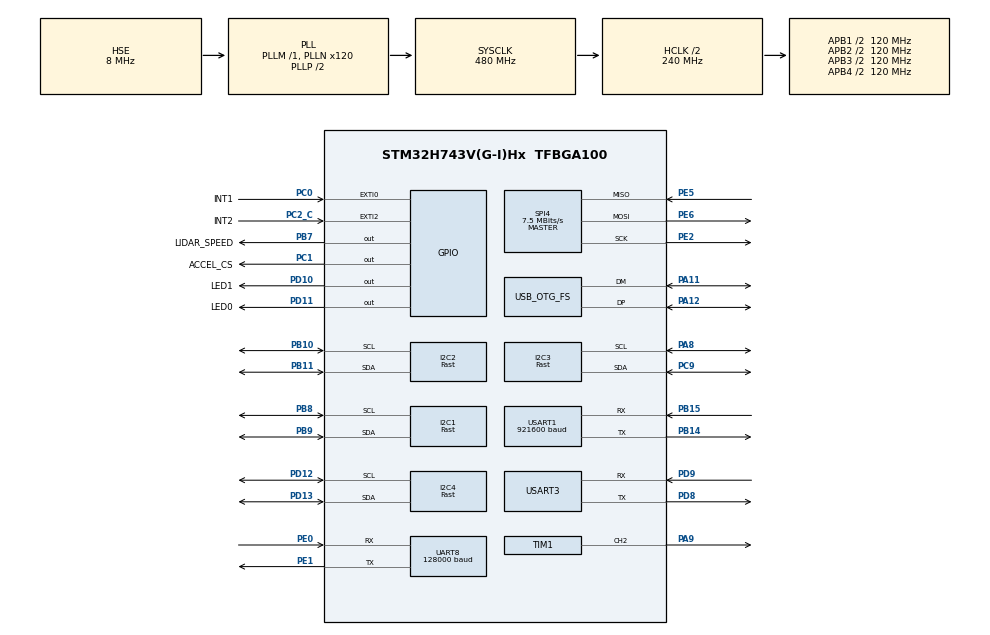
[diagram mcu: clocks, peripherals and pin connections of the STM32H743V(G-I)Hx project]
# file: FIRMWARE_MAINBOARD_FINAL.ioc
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CORTEX_M7.default_mode_Activation=1
Dma.Request0=USART1_RX
Dma.Request1=TIM1_CH2
Dma.Request2=UART8_RX
Dma.TIM1_CH2.1.Direction=DMA_MEMORY_TO_PERIPH
Dma.TIM1_CH2.1.EventEnable=DISABLE
Dma.TIM1_CH2.1.FIFOMode=DMA_FIFOMODE_DISABLE
Dma.TIM1_CH2.1.Instance=DMA1_Stream0
Dma.TIM1_CH2.1.MemDataAlignment=DMA_MDATAALIGN_WORD
Dma.TIM1_CH2.1.MemInc=DMA_MINC_ENABLE
Dma.TIM1_CH2.1.Mode=DMA_NORMAL
Dma.TIM1_CH2.1.PeriphDataAlignment=DMA_PDATAALIGN_WORD
Dma.TIM1_CH2.1.PeriphInc=DMA_PINC_DISABLE
Dma.TIM1_CH2.1.Polarity=HAL_DMAMUX_REQ_GEN_RISING
Dma.TIM1_CH2.1.Priority=DMA_PRIORITY_LOW
Dma.TIM1_CH2.1.RequestNumber=1
Dma.TIM1_CH2.1.SignalID=NONE
Dma.TIM1_CH2.1.SyncEnable=DISABLE
Dma.TIM1_CH2.1.SyncPolarity=HAL_DMAMUX_SYNC_NO_EVENT
Dma.TIM1_CH2.1.SyncRequestNumber=1
Dma.TIM1_CH2.1.SyncSignalID=NONE
Dma.UART8_RX.2.Direction=DMA_PERIPH_TO_MEMORY
Dma.UART8_RX.2.EventEnable=DISABLE
Dma.UART8_RX.2.FIFOMode=DMA_FIFOMODE_DISABLE
Dma.UART8_RX.2.Instance=DMA1_Stream2
Dma.UART8_RX.2.MemDataAlignment=DMA_MDATAALIGN_BYTE
Dma.UART8_RX.2.MemInc=DMA_MINC_ENABLE
Dma.UART8_RX.2.Mode=DMA_CIRCULAR
Dma.UART8_RX.2.PeriphDataAlignment=DMA_PDATAALIGN_BYTE
Dma.UART8_RX.2.PeriphInc=DMA_PINC_DISABLE
Dma.UART8_RX.2.Polarity=HAL_DMAMUX_REQ_GEN_RISING
Dma.UART8_RX.2.Priority=DMA_PRIORITY_LOW
Dma.UART8_RX.2.RequestNumber=1
Dma.UART8_RX.2.SignalID=NONE
Dma.UART8_RX.2.SyncEnable=DISABLE
Dma.UART8_RX.2.SyncPolarity=HAL_DMAMUX_SYNC_NO_EVENT
Dma.UART8_RX.2.SyncRequestNumber=1
Dma.UART8_RX.2.SyncSignalID=NONE
Dma.USART1_RX.0.Direction=DMA_PERIPH_TO_MEMORY
Dma.USART1_RX.0.EventEnable=DISABLE
Dma.USART1_RX.0.FIFOMode=DMA_FIFOMODE_DISABLE
Dma.USART1_RX.0.Instance=DMA1_Stream1
Dma.USART1_RX.0.MemDataAlignment=DMA_MDATAALIGN_BYTE
Dma.USART1_RX.0.MemInc=DMA_MINC_ENABLE
Dma.USART1_RX.0.Mode=DMA_CIRCULAR
Dma.USART1_RX.0.PeriphDataAlignment=DMA_PDATAALIGN_BYTE
Dma.USART1_RX.0.PeriphInc=DMA_PINC_DISABLE
Dma.USART1_RX.0.Polarity=HAL_DMAMUX_REQ_GEN_RISING
Dma.USART1_RX.0.Priority=DMA_PRIORITY_LOW
Dma.USART1_RX.0.RequestNumber=1
Dma.USART1_RX.0.SignalID=NONE
Dma.USART1_RX.0.SyncEnable=DISABLE
Dma.USART1_RX.0.SyncPolarity=HAL_DMAMUX_SYNC_NO_EVENT
Dma.USART1_RX.0.SyncRequestNumber=1
Dma.USART1_RX.0.SyncSignalID=NONE
FREERTOS.INCLUDE_uxTaskGetStackHighWaterMark2=1
FREERTOS.INCLUDE_vTaskDelayUntil=1
FREERTOS.Tasks01=maintask,0,256,Startmaintask,Default,NULL,Dynamic,NULL,NULL;Sensor_parse,2,512,Startsensorparse,Default,NULL,Dynamic,NULL,NULL;Pimptask,-1,512,StartPimptask,Default,NULL,Dynamic,NULL,NULL;Odom_task,2,512,StartOdomtask,Default,NULL,Dynamic,NULL,NULL;Clustertask,1,512,StartClustertask,Default,NULL,Dynamic,NULL,NULL
FREERTOS.configTOTAL_HEAP_SIZE=32768
FREERTOS.configUSE_NEWLIB_REENTRANT=1
I2C1.I2C_Speed_Mode=I2C_Fast
I2C1.Timing=0x00B03FDB
I2C2.I2C_Speed_Mode=I2C_Fast
I2C2.Timing=0x00B03FDB
I2C3.I2C_Speed_Mode=I2C_Fast
I2C3.Timing=0x00B03FDB
I2C4.I2C_Speed_Mode=I2C_Fast
I2C4.Timing=0x00B03FDB
Mcu.Family=STM32H7
Mcu.Name=STM32H743V(G-I)Hx
Mcu.Package=TFBGA100
NVIC.DMA1_Stream0_IRQn=true\:5\:0\:false\:false\:true\:true\:false\:true\:true
NVIC.DMA1_Stream1_IRQn=true\:5\:0\:false\:false\:true\:true\:false\:true\:true
NVIC.DMA1_Stream2_IRQn=true\:5\:0\:false\:false\:true\:true\:false\:true\:true
NVIC.EXTI0_IRQn=true\:5\:0\:false\:false\:true\:true\:true\:true\:true
NVIC.EXTI2_IRQn=true\:5\:0\:false\:false\:true\:true\:true\:true\:true
NVIC.OTG_FS_IRQn=true\:5\:0\:false\:false\:true\:true\:false\:true\:true
NVIC.PriorityGroup=NVIC_PRIORITYGROUP_4
NVIC.TIM2_IRQn=true\:15\:0\:false\:false\:true\:false\:false\:true\:true
NVIC.TimeBase=TIM2_IRQn
NVIC.TimeBaseIP=TIM2
PA11.Mode=Device_Only
PA11.Signal=USB_OTG_FS_DM
PA12.Mode=Device_Only
PA12.Signal=USB_OTG_FS_DP
PA13\ (JTMS/SWDIO).Mode=Serial_Wire
PA13\ (JTMS/SWDIO).Signal=DEBUG_JTMS-SWDIO
PA14\ (JTCK/SWCLK).Mode=Serial_Wire
PA14\ (JTCK/SWCLK).Signal=DEBUG_JTCK-SWCLK
PA8.Mode=I2C
PA8.Signal=I2C3_SCL
PA9.Signal=S_TIM1_CH2
PB10.GPIO_Pu=GPIO_NOPULL
PB10.Mode=I2C
PB10.Signal=I2C2_SCL
PB11.GPIO_Pu=GPIO_NOPULL
PB11.Mode=I2C
PB11.Signal=I2C2_SDA
PB14.Mode=Asynchronous
PB14.Signal=USART1_TX
PB15.Mode=Asynchronous
PB15.Signal=USART1_RX
PB7.GPIO_Label=LIDAR_SPEED
PB7.Signal=GPIO_Output
PB8.Mode=I2C
PB8.Signal=I2C1_SCL
PB9.Mode=I2C
PB9.Signal=I2C1_SDA
PC0.GPIO_Label=INT1
PC0.GPIO_ModeDefaultEXTI=GPIO_MODE_IT_RISING
PC0.Signal=GPXTI0
PC1.GPIO_Label=ACCEL_CS
PC1.Signal=GPIO_Output
PC2_C.GPIO_Label=INT2
PC2_C.Signal=GPXTI2
PC9.Mode=I2C
PC9.Signal=I2C3_SDA
PD10.GPIO_Label=LED1
PD10.Signal=GPIO_Output
PD11.GPIO_Label=LED0
PD11.Signal=GPIO_Output
PD12.Mode=I2C
PD12.Signal=I2C4_SCL
PD13.Mode=I2C
PD13.Signal=I2C4_SDA
PD8.Mode=Asynchronous
PD8.Signal=USART3_TX
PD9.Mode=Asynchronous
PD9.Signal=USART3_RX
PE0.Mode=Asynchronous
PE0.Signal=UART8_RX
PE1.Mode=Asynchronous
PE1.Signal=UART8_TX
PE2.Mode=Full_Duplex_Master
PE2.Signal=SPI4_SCK
PE5.Mode=Full_Duplex_Master
PE5.Signal=SPI4_MISO
PE6.Mode=Full_Duplex_Master
PE6.Signal=SPI4_MOSI
PH0-OSC_IN\ (PH0).Mode=HSE-External-Oscillator
PH0-OSC_IN\ (PH0).Signal=RCC_OSC_IN
PH1-OSC_OUT\ (PH1).Mode=HSE-External-Oscillator
PH1-OSC_OUT\ (PH1).Signal=RCC_OSC_OUT
ProjectManager.HeapSize=0x200
ProjectManager.StackSize=0x400
ProjectManager.TargetToolchain=STM32CubeIDE
RCC.ADCFreq_Value=75000000
RCC.APB1Freq_Value=120000000
RCC.APB2Freq_Value=120000000
RCC.APB3Freq_Value=120000000
RCC.APB4Freq_Value=120000000
RCC.CortexFreq_Value=480000000
RCC.D1PPRE=RCC_APB3_DIV2
RCC.D2PPRE1=RCC_APB1_DIV2
RCC.D2PPRE2=RCC_APB2_DIV2
RCC.D3PPRE=RCC_APB4_DIV2
RCC.DIVM1=1
RCC.DIVM2=8
RCC.DIVM3=2
RCC.DIVN1=120
RCC.DIVN2=150
RCC.DIVN3=130
RCC.DIVP3=10
RCC.HCLKFreq_Value=240000000
RCC.HPRE=RCC_HCLK_DIV2
RCC.HSE_VALUE=8000000
RCC.PLL2FRACN=0
RCC.PLL3FRACN=0
RCC.PLLFRACN=0
RCC.PLLSourceVirtual=RCC_PLLSOURCE_HSE
RCC.SAI23CLockSelection=RCC_SAI23CLKSOURCE_PLL2
RCC.SPI123CLockSelection=RCC_SPI123CLKSOURCE_PLL3
RCC.SYSCLKFreq_VALUE=480000000
RCC.SYSCLKSource=RCC_SYSCLKSOURCE_PLLCLK
RCC.USBCLockSelection=RCC_USBCLKSOURCE_HSI48
RCC.USBFreq_Value=48000000
SH.S_TIM1_CH2.0=TIM1_CH2,PWM Generation2 CH2
SPI4.BaudRatePrescaler=SPI_BAUDRATEPRESCALER_16
SPI4.CLKPhase=SPI_PHASE_2EDGE
SPI4.CLKPolarity=SPI_POLARITY_HIGH
SPI4.CalculateBaudRate=7.5 MBits/s
SPI4.DataSize=SPI_DATASIZE_8BIT
SPI4.Direction=SPI_DIRECTION_2LINES
SPI4.Mode=SPI_MODE_MASTER
SPI4.VirtualType=VM_MASTER
TIM1.AutoReloadPreload=TIM_AUTORELOAD_PRELOAD_ENABLE
TIM1.Channel-PWM\ Generation2\ CH2=TIM_CHANNEL_2
TIM1.Period=100-1
TIM1.Prescaler=3-1
UART8.BaudRate=128000
USART1.BaudRate=921600
USART1.VirtualMode-Asynchronous=VM_ASYNC
USART3.VirtualMode-Asynchronous=VM_ASYNC
USB_DEVICE.CLASS_NAME_FS=CDC
USB_DEVICE.VirtualMode-CDC_FS=Cdc
USB_DEVICE.VirtualModeFS=Cdc_FS
USB_OTG_FS.VirtualMode=Device_Only
VP_FREERTOS_VS_CMSIS_V1.Mode=CMSIS_V1
VP_MEMORYMAP_VS_MEMORYMAP.Mode=CurAppReg
VP_SYS_VS_tim2.Mode=TIM2
VP_TIM1_VS_ClockSourceINT.Mode=Internal
VP_USB_DEVICE_VS_USB_DEVICE_CDC_FS.Mode=CDC_FS
board=custom

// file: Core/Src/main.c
/* USER CODE BEGIN Header */
/**
  ******************************************************************************
  * @file           : main.c
  * @brief          : Main program body
  ******************************************************************************
  * @attention
  *
  * Copyright (c) 2025 STMicroelectronics.
  * All rights reserved.
  *
  * This software is licensed under terms that can be found in the LICENSE file
  * in the root directory of this software component.
  * If no LICENSE file comes with this software, it is provided AS-IS.
  *
  ******************************************************************************
  */
/* USER CODE END Header */
#include "main.h"
#include "cmsis_os.h"
#include "dma.h"
#include "i2c.h"
#include "spi.h"
#include "tim.h"
#include "usart.h"
#include "usb_device.h"
#include "gpio.h"

/* USER CODE BEGIN PV */
adxl343_t adxldata;
int flag=0;
uint32_t LEDDMABUF[DMABUFLEN];
uint8_t DMA_COMPLETE_FLAG=0;
MOTOR_COM com_struct;
Lidar_t lidar_struct;

/* USER CODE END PV */

void SystemClock_Config(void);
static void MPU_Config(void);
void MX_FREERTOS_Init(void);

/* USER CODE BEGIN 0 */
void HAL_GPIO_EXTI_Callback(uint16_t GPIO_Pin){

	if(GPIO_Pin == GPIO_PIN_0){

		if(flag == 0 ){
			LED_Setcolour(255,0,0,0,0,255);

		}
		if(flag == 1){
			LED_Setcolour(0,0,255,255,0,0);

		}

		flag=1-flag;

		ADXL343_INT_HANDLER(&adxldata, 100);
	}
}

void HAL_TIM_PWM_PulseFinishedCallback(TIM_HandleTypeDef *htim){

	LED_Callback();
}

void HAL_UART_RxHalfCpltCallback(UART_HandleTypeDef *huart)
{
    if (huart->Instance == USART1)
    {
#ifdef NORMAL_MODE
        com_struct.write_index = (uint16_t)(MOTOR_COM_RX_BUF_SIZE / 2u);
#endif
#ifdef DEBUG_MODE
        (void)CDC_Transmit_FS(&com_struct.dbg_rx_buf[0], DEBUG_RX_BUF_SIZE / 2u);
#endif
    }
    if (huart->Instance == UART8)
    {
    	lidar_struct.parse_struct.ylidar_write_index=YLIDAR_CIRC_BUF_SIZE/2u;
    }
    if (huart->Instance == USART3)
    {
    }
}

void HAL_UART_RxCpltCallback(UART_HandleTypeDef *huart)
{
    if (huart->Instance == USART1)
    {
#ifdef NORMAL_MODE
        com_struct.write_index = 0;
#endif
#ifdef DEBUG_MODE
        (void)CDC_Transmit_FS(&com_struct.dbg_rx_buf[DEBUG_RX_BUF_SIZE / 2u],
                              DEBUG_RX_BUF_SIZE / 2u);
#endif
    }
    if (huart->Instance == UART8)
    {
    	lidar_struct.parse_struct.ylidar_write_index=0;
    }
    if (huart->Instance == USART3)
    {
    }
}

/* USER CODE END 0 */

int main(void)
{

  /* MPU Configuration--------------------------------------------------------*/
  MPU_Config();

  /* MCU Configuration--------------------------------------------------------*/

  /* Reset of all peripherals, Initializes the Flash interface and the Systick. */
  HAL_Init();

  /* Configure the system clock */
  SystemClock_Config();

  /* Initialize all configured peripherals */
  MX_GPIO_Init();
  MX_DMA_Init();
  MX_SPI4_Init();
  MX_I2C2_Init();
  MX_TIM1_Init();
  MX_USART1_UART_Init();
  MX_I2C1_Init();
  MX_I2C3_Init();
  MX_I2C4_Init();
  MX_UART8_Init();
  MX_USART3_UART_Init();
  /* USER CODE BEGIN 2 */

    MotorCom_Init(&com_struct,&huart1);

    ADXL343_Init(&adxldata, &hspi4, ACCEL_CS_GPIO_Port, ACCEL_CS_Pin,ADXL343_BW_RATE_VALUE, ADXL343_DATA_FMT_RANGE_4G,100);
    LED_Init();

    Lidar_Init(&lidar_struct,&huart8,LIDAR_SPEED_GPIO_Port, LIDAR_SPEED_Pin);

    LED_Setcolour(0,255,0,0,255,0);

  //  ssd1306_Init();
  //  ssd1306_Fill(White);
  //  ssd1306_SetCursor(32,32);
  //  ssd1306_UpdateScreen();

  /* USER CODE END 2 */

  /* Call init function for freertos objects (in cmsis_os2.c) */
  MX_FREERTOS_Init();

  /* Start scheduler */
  osKernelStart();

  /* We should never get here as control is now taken by the scheduler */

  /* Infinite loop */
  while (1)
  {

  }
}

void SystemClock_Config(void)
{
  RCC_OscInitTypeDef RCC_OscInitStruct = {0};
  RCC_ClkInitTypeDef RCC_ClkInitStruct = {0};

  /** Supply configuration update enable
  */
  HAL_PWREx_ConfigSupply(PWR_LDO_SUPPLY);

  /** Configure the main internal regulator output voltage
  */
  __HAL_PWR_VOLTAGESCALING_CONFIG(PWR_REGULATOR_VOLTAGE_SCALE0);

  while(!__HAL_PWR_GET_FLAG(PWR_FLAG_VOSRDY)) {}

  /** Initializes the RCC Oscillators according to the specified parameters
  * in the RCC_OscInitTypeDef structure.
  */
  RCC_OscInitStruct.OscillatorType = RCC_OSCILLATORTYPE_HSI48|RCC_OSCILLATORTYPE_HSE;
  RCC_OscInitStruct.HSEState = RCC_HSE_ON;
  RCC_OscInitStruct.HSI48State = RCC_HSI48_ON;
  RCC_OscInitStruct.PLL.PLLState = RCC_PLL_ON;
  RCC_OscInitStruct.PLL.PLLSource = RCC_PLLSOURCE_HSE;
  RCC_OscInitStruct.PLL.PLLM = 1;
  RCC_OscInitStruct.PLL.PLLN = 120;
  RCC_OscInitStruct.PLL.PLLP = 2;
  RCC_OscInitStruct.PLL.PLLQ = 2;
  RCC_OscInitStruct.PLL.PLLR = 2;
  RCC_OscInitStruct.PLL.PLLRGE = RCC_PLL1VCIRANGE_3;
  RCC_OscInitStruct.PLL.PLLVCOSEL = RCC_PLL1VCOWIDE;
  RCC_OscInitStruct.PLL.PLLFRACN = 0;
  if (HAL_RCC_OscConfig(&RCC_OscInitStruct) != HAL_OK)
  {
    Error_Handler();
  }

  /** Initializes the CPU, AHB and APB buses clocks
  */
  RCC_ClkInitStruct.ClockType = RCC_CLOCKTYPE_HCLK|RCC_CLOCKTYPE_SYSCLK
                              |RCC_CLOCKTYPE_PCLK1|RCC_CLOCKTYPE_PCLK2
                              |RCC_CLOCKTYPE_D3PCLK1|RCC_CLOCKTYPE_D1PCLK1;
  RCC_ClkInitStruct.SYSCLKSource = RCC_SYSCLKSOURCE_PLLCLK;
  RCC_ClkInitStruct.SYSCLKDivider = RCC_SYSCLK_DIV1;
  RCC_ClkInitStruct.AHBCLKDivider = RCC_HCLK_DIV2;
  RCC_ClkInitStruct.APB3CLKDivider = RCC_APB3_DIV2;
  RCC_ClkInitStruct.APB1CLKDivider = RCC_APB1_DIV2;
  RCC_ClkInitStruct.APB2CLKDivider = RCC_APB2_DIV2;
  RCC_ClkInitStruct.APB4CLKDivider = RCC_APB4_DIV2;

  if (HAL_RCC_ClockConfig(&RCC_ClkInitStruct, FLASH_LATENCY_4) != HAL_OK)
  {
    Error_Handler();
  }
}

 /* MPU Configuration */

void MPU_Config(void)
{
  MPU_Region_InitTypeDef MPU_InitStruct = {0};

  /* Disables the MPU */
  HAL_MPU_Disable();

  /** Initializes and configures the Region and the memory to be protected
  */
  MPU_InitStruct.Enable = MPU_REGION_ENABLE;
  MPU_InitStruct.Number = MPU_REGION_NUMBER0;
  MPU_InitStruct.BaseAddress = 0x0;
  MPU_InitStruct.Size = MPU_REGION_SIZE_4GB;
  MPU_InitStruct.SubRegionDisable = 0x87;
  MPU_InitStruct.TypeExtField = MPU_TEX_LEVEL0;
  MPU_InitStruct.AccessPermission = MPU_REGION_NO_ACCESS;
  MPU_InitStruct.DisableExec = MPU_INSTRUCTION_ACCESS_DISABLE;
  MPU_InitStruct.IsShareable = MPU_ACCESS_SHAREABLE;
  MPU_InitStruct.IsCacheable = MPU_ACCESS_NOT_CACHEABLE;
  MPU_InitStruct.IsBufferable = MPU_ACCESS_NOT_BUFFERABLE;

  HAL_MPU_ConfigRegion(&MPU_InitStruct);
  /* Enables the MPU */
  HAL_MPU_Enable(MPU_PRIVILEGED_DEFAULT);

}

void HAL_TIM_PeriodElapsedCallback(TIM_HandleTypeDef *htim)
{
  if (htim->Instance == TIM2)
  {
    HAL_IncTick();
  }
}

void Error_Handler(void)
{
  __disable_irq();
  while (1)
  {
  }
}

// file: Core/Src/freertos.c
/* USER CODE BEGIN Header */
/**
 ******************************************************************************
 * File Name          : freertos.c
 * Description        : Code for freertos applications
 ******************************************************************************
 * @attention
 *
 * Copyright (c) 2025 STMicroelectronics.
 * All rights reserved.
 *
 * This software is licensed under terms that can be found in the LICENSE file
 * in the root directory of this software component.
 * If no LICENSE file comes with this software, it is provided AS-IS.
 *
 ******************************************************************************
 */
/* USER CODE END Header */

#include "FreeRTOS.h"
#include "task.h"
#include "main.h"
#include "cmsis_os.h"

/* USER CODE BEGIN Includes */
#include "adxl343.h"
#include "mcc_com_master.h"
#include "odometry.h"
#include "control.h"
#include "vl53l0x.h"
#include "lidar.h"
/* USER CODE END Includes */

/* USER CODE BEGIN Variables */
extern uint16_t ylidar_read_index;
extern uint16_t ylidar_write_index;

extern uint8_t ylidar_finalbuffer[1024];
extern adxl343_t adxldata;
extern MOTOR_COM com_struct;
extern Lidar_t lidar_struct;
/* USER CODE END Variables */
osThreadId maintaskHandle;
osThreadId Sensor_parseHandle;
osThreadId PimptaskHandle;
osThreadId Odom_taskHandle;
osThreadId ClustertaskHandle;

void Startmaintask(void const * argument);
void Startsensorparse(void const * argument);
void StartPimptask(void const * argument);
void StartOdomtask(void const * argument);
void StartClustertask(void const * argument);

extern void MX_USB_DEVICE_Init(void);
void MX_FREERTOS_Init(void); /* (MISRA C 2004 rule 8.1) */

/* GetIdleTaskMemory prototype (linked to static allocation support) */
void vApplicationGetIdleTaskMemory( StaticTask_t **ppxIdleTaskTCBBuffer, StackType_t **ppxIdleTaskStackBuffer, uint32_t *pulIdleTaskStackSize );

/* USER CODE BEGIN GET_IDLE_TASK_MEMORY */
static StaticTask_t xIdleTaskTCBBuffer;
static StackType_t xIdleStack[configMINIMAL_STACK_SIZE];

void vApplicationGetIdleTaskMemory( StaticTask_t **ppxIdleTaskTCBBuffer, StackType_t **ppxIdleTaskStackBuffer, uint32_t *pulIdleTaskStackSize )
{
	*ppxIdleTaskTCBBuffer = &xIdleTaskTCBBuffer;
	*ppxIdleTaskStackBuffer = &xIdleStack[0];
	*pulIdleTaskStackSize = configMINIMAL_STACK_SIZE;
	/* place for user code */
}
/* USER CODE END GET_IDLE_TASK_MEMORY */

void MX_FREERTOS_Init(void) {

	/* Create the thread(s) */
	/* definition and creation of maintask */
	osThreadDef(maintask, Startmaintask, osPriorityNormal, 0, 256);
	maintaskHandle = osThreadCreate(osThread(maintask), NULL);

	/* definition and creation of Sensor_parse */
	osThreadDef(Sensor_parse, Startsensorparse, osPriorityHigh, 0, 512);
	Sensor_parseHandle = osThreadCreate(osThread(Sensor_parse), NULL);

	/* definition and creation of Pimptask */
	osThreadDef(Pimptask, StartPimptask, osPriorityBelowNormal, 0, 512);
	PimptaskHandle = osThreadCreate(osThread(Pimptask), NULL);

	/* definition and creation of Odom_task */
	osThreadDef(Odom_task, StartOdomtask, osPriorityHigh, 0, 512);
	Odom_taskHandle = osThreadCreate(osThread(Odom_task), NULL);

	/* definition and creation of Clustertask */
	osThreadDef(Clustertask, StartClustertask, osPriorityAboveNormal, 0, 512);
	ClustertaskHandle = osThreadCreate(osThread(Clustertask), NULL);

}

void Startmaintask(void const * argument)
{
	/* init code for USB_DEVICE */
	MX_USB_DEVICE_Init();
	/* USER CODE BEGIN Startmaintask */
	TickType_t xLastWakeTime;
	const TickType_t period = pdMS_TO_TICKS(5000);
	int i=0;
	/* Infinite loop */
	for(;;)
	{
		//	  switch(i){
		//	  case 0:
		//		  com_struct.w0=154.0f;
		//		  com_struct.w1=110.0f;
		//		  com_struct.w2=43.0f;
		//		  i++;
		//		  break;
		//	  case 1:
		//		  com_struct.w0=74.0f;
		//		  com_struct.w1=195.0f;
		//		  com_struct.w2=14.0f;
		//		  i--;
		//		  break;
		//	  }

		HAL_GPIO_TogglePin(GPIOD,GPIO_PIN_11);
		vTaskDelayUntil(&xLastWakeTime, period);
	}
	/* USER CODE END Startmaintask */
}

void Startsensorparse(void const * argument)
{
	/* USER CODE BEGIN Startsensorparse */
	//	VL53L0X_Init(1, 0.3f);
	//	VL53L0X_Init(2, 0.3f);
	//	VL53L0X_Init(3, 0.3f);
	//
	//	VL53L0X_t *t1 = VL53L0X_GetHandle(1);
	//	VL53L0X_t *t2 = VL53L0X_GetHandle(2);
	//	VL53L0X_t *t3 = VL53L0X_GetHandle(3);

	TickType_t xLastWakeTime;
	const TickType_t period = pdMS_TO_TICKS(10);
	/* Infinite loop */
	for(;;)
	{
		ylidar_fsm(&lidar_struct);
		Clusterize(&lidar_struct);
		//	  VL53L0X_Update(t1);
		//	  VL53L0X_Update(t2);
		//	  VL53L0X_Update(t3);
		//ADXL343_ReadXYZ(&adxldata, 100);
		vTaskDelayUntil(&xLastWakeTime, period);
	}
	/* USER CODE END Startsensorparse */
}

void StartPimptask(void const * argument)
{
	/* USER CODE BEGIN StartPimptask */
	TickType_t xLastWakeTime;
	const TickType_t period = pdMS_TO_TICKS(33);
	/* Infinite loop */
	for(;;)
	{
		vTaskDelayUntil(&xLastWakeTime, period);
	}
	/* USER CODE END StartPimptask */
}

void StartOdomtask(void const * argument)
{
	/* USER CODE BEGIN StartOdomtask */

	//odometry_Init();
	TickType_t xLastWakeTime;
	const TickType_t period = pdMS_TO_TICKS(10);
	/* Infinite loop */
	for(;;)
	{
		MotorCom_Process(&com_struct);
		vTaskDelayUntil(&xLastWakeTime, period);
	}
	/* USER CODE END StartOdomtask */
}

void StartClustertask(void const * argument)
{
	/* USER CODE BEGIN StartClustertask */

	TickType_t xLastWakeTime;
	const TickType_t period = pdMS_TO_TICKS(100);
	/* Infinite loop */
	for(;;)
	{
		HAL_GPIO_TogglePin(GPIOD,GPIO_PIN_10);
		vTaskDelayUntil(&xLastWakeTime, period);
	}
	/* USER CODE END StartClustertask */
}
